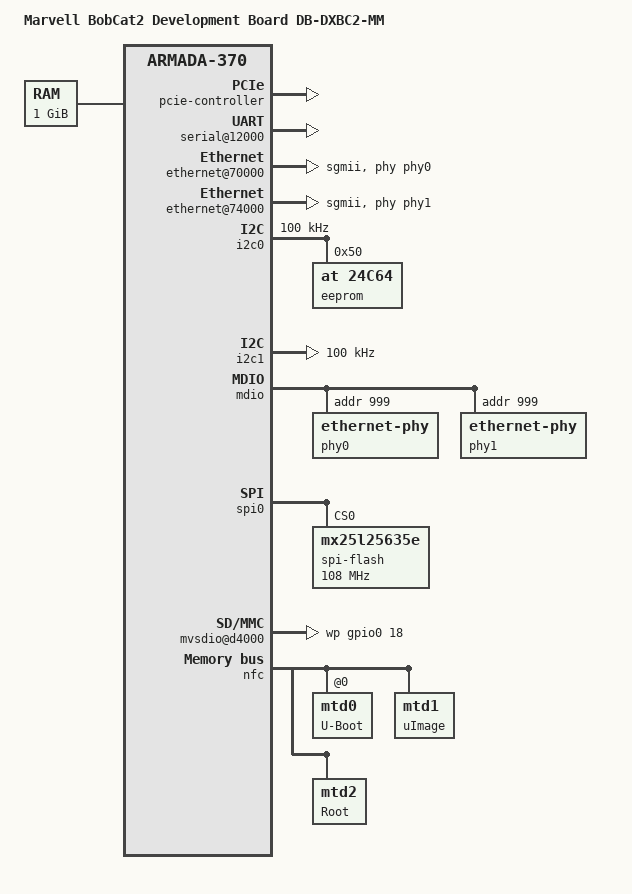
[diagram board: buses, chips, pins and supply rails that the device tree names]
/*
 * Device Tree file for Marvell BobCat2 development board
 * (DB-DXBC2-MM)
 *
 * Copyright (C) 2015 Marvell
 *
 * This file is licensed under the terms of the GNU General Public
 * License version 2.  This program is licensed "as is" without any
 * warranty of any kind, whether express or implied.
 */

/dts-v1/;
#include <dt-bindings/gpio/gpio.h>
#include "msys-bc2.dtsi"

/ {
	model = "Marvell BobCat2 Development Board DB-DXBC2-MM";
	compatible = "marvell,msys", "marvell,msys-bc2",
		     "marvell,msys-bc2-db", "marvell,armada-370-xp";


	chosen {
		bootargs = "console=ttyS0,115200 earlyprintk";
	};

	memory {
		/*
                 * 1GB of plug-in RAM modules by default. The amount
                 * of memory available can be changed by the
                 * bootloader according the size of the module
                 * actually plugged.
		 */
		device_type = "memory";
		reg = <0x00000000 0x00000000 0x00000000 0x40000000>;
	};

	soc {
		ranges = <MBUS_ID(0xf0, 0x01) 0 0 0xf1000000 0x100000
			  MBUS_ID(0x01, 0x1d) 0 0 0xfff00000 0x100000
			  MBUS_ID(0x01, 0x2f) 0 0 0xf0000000 0x1000000
			  MBUS_ID(0x03, 0x00) 0 0 0xf8000000 0x4000000	/* switch */
			  MBUS_ID(0x08, 0x00) 0 0 0xfc000000 0x100000>;	/* dfx */

		devbus-bootcs {
			pinctrl-names = "default";
			pinctrl-0 = <&devbus_pins>;

			/* Read parameters */
			devbus,bus-width    = <16>;
			devbus,turn-off-ps  = <60000>;
			devbus,badr-skew-ps = <0>;
			devbus,acc-first-ps = <124000>;
			devbus,acc-next-ps  = <248000>;
			devbus,rd-setup-ps  = <0>;
			devbus,rd-hold-ps   = <0>;

			/* Write parameters */
			devbus,sync-enable = <0>;
			devbus,wr-high-ps  = <60000>;
			devbus,wr-low-ps   = <60000>;
			devbus,ale-wr-ps   = <60000>;

			/* NOR 16 MiB */
			nor@0 {
				compatible = "cfi-flash";
				reg = <0 0x1000000>;
				bank-width = <2>;
			};
		};

		pcie-controller {
			status = "okay";

			pcie@1,0 {
				status = "okay";
			};
		};

		internal-regs {
			serial@12000 {
				status = "okay";
			};

			serial@12100 {
				status = "disabled";
			};

			ethernet@70000 {
				status = "okay";
				phy = <&phy0>;
				phy-mode = "sgmii";
			};

			ethernet@74000 {
				status = "okay";
				phy = <&phy1>;
				phy-mode = "sgmii";
			};

			i2c0: i2c@11000 {
				status = "okay";
				clock-frequency = <100000>;
			};

			i2c1: i2c@11100 {
				status = "okay";
				clock-frequency = <100000>;
			};

			mdio {
				phy0: ethernet-phy@0 {
					reg = <999>;
				};

				phy1: ethernet-phy@1 {
					reg = <999>;
				};
			};

			spi0: spi@10600 {
				pinctrl-names = "default";
				pinctrl-0 = <&spi_pins>;
				status = "okay";

				spi-flash@0 {
					#address-cells = <1>;
					#size-cells = <1>;
					compatible = "mx25l25635e";
					reg = <0>; /* Chip select 0 */
					spi-max-frequency = <108000000>;
				};
			};

			mvsdio@d4000 {
				pinctrl-names = "default";
				pinctrl-0 = <&sdio_pins>;
				status = "okay";
				wp-gpios = <&gpio0 18 0>;
				broken-cd;
			};

			nfc: nand-flash@d0000 {
				pinctrl-names = "default";
				pinctrl-0 = <&nand_pins>;
				#address-cells = <1>;
				#size-cells = <1>;
				status = "okay";

				nfc,nfc-mode  = "normal";       /* normal or ganged */
				nfc,nfc-dma   = <0>;            /* 0 for no, 1 for dma */
				nfc,nfc-width = <8>;
				nfc,ecc-type  = <1>;            /* 4 bit */
				nfc,num-cs    = <1>;

				mtd0@00000000 {
					label = "U-Boot";
					reg = <0x00000000 0x00800000>;
					read-only;
				};

				mtd1@00080000 {
					label = "uImage";
					reg = <0x00800000 0x00800000>;
					read-only;
				};

				mtd2@00140000 {
					label = "Root";
					reg = <0x01000000 0x3f000000>;
				};
			};

			i2c0: i2c@11000 {
				pinctrl-names = "default";
				pinctrl-0 = <&i2c0_pins>;
				eeprom@50 {
					compatible = "at,24c64";
					pagesize = <32>;
					reg = <0x50>;
					marvell,board_id_reg = <0x7>;
				};
			};
		};



		prestera {
			pinctrl-names = "default", "default";
			pinctrl-0 = <&pp_pin>;
			pinctrl-1 = <&slvsmi_pins>;
			status = "okay";
			/*  the CPSS board ID can be enforced
			cpss_force_board_id = <0x10>; */

			servicecpu {
				status = "disabled";
				sram_sections {
					/* the sum of all sections' size should be equal to sram_base's size */
					/* there should be no gap between 2 continuous sections */
					/* the section lable should be one of following: */
					/* "L2 Cache", "free area", "host memory", "OAM DB" */
					/* the current sections definition is used for 2M SRAM (for BC2). */
					sram_section@0 {
						label = "L2 Cache";
						reg = <0 0x100000>;    /* section offset to sram_base and section size */
					};

					sram_section@0x100000 {
						label = "host memory";
						reg = <0x100000 0x80000>;
					};

					sram_section@0x180000 {
						label = "OAM DB";
						reg = <0x180000 0x80000>;
					};
				};

				dram_sections {
					/* the sum of all sections' size should be equal to dram_base's size */
					/* there should be no gap between 2 continuous sections */
					/* the section lable should be one of following: */
					/* "firmware" and "share memory" */
					dram_section@0x0 {
						label = "firmware";		/* section offset to dram_base and section size */
						reg = <0 0x200000>;
					};

					dram_section@0x200000 {
						label = "share memory";
						reg = <0x200000 0x200000>;
					};
				};
			};

			cm3 {
			        status = "okay";
			};
		};

		addr-compl {
			compatible = "marvell,msys-addr-compl";
			reg = <MBUS_ID(0x03, 0x00) 0 0x200>; /* Switch MG register base */
		};
	};
};
